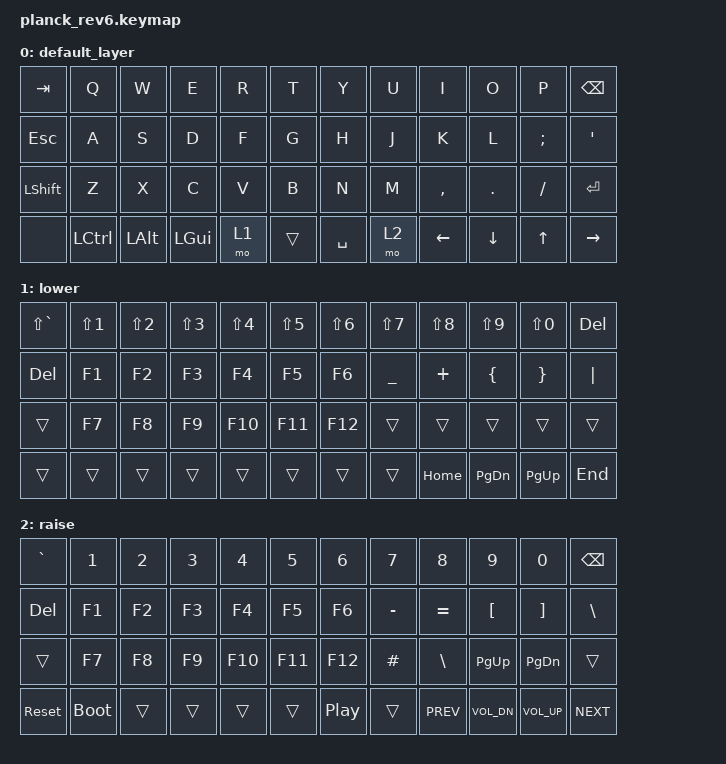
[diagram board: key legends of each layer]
/*
 * Copyright (c) 2020 The ZMK Contributors
 *
 * SPDX-License-Identifier: MIT
 */

#include <behaviors.dtsi>
#include <dt-bindings/zmk/keys.h>

/ {
	keymap {
		compatible = "zmk,keymap";

		default_layer {
			// ,-----------------------------------------------------------------------------------------------.
			// |  Tab  |   Q   |   W   |   E   |   R   |   T   |   Y   |   U   |   I   |   O   |   P   | Bksp  |
			// |-------+-------+-------+-------+-------+-------+-------+-------+-------+-------+-------+-------|
			// |  Esc  |   A   |   S   |   D   |   F   |   G   |   H   |   J   |   K   |   L   |   ;   |   '   |
			// |-------+-------+-------+-------+-------+-------+-------+-------+-------+-------+-------+-------|
			// | Shift |   Z   |   X   |   C   |   V   |   B   |   N   |   M   |   ,   |   .   |   /   | Enter |
			// |-------+-------+-------+-------+-------+-------+-------+-------+-------+-------+-------+-------|
			// |       | Ctrl  |  Alt  |  GUI  | Lower |     Space     | Raise | Left  | Down  |  Up   | Right |
			// `-----------------------------------------------------------------------------------------------'
			bindings = <
				&kp TAB  &kp Q    &kp W &kp E &kp R &kp T  &kp Y   &kp U  &kp I    &kp O   &kp P    &kp BSPC
				&kp ESC  &kp A    &kp S &kp D &kp F &kp G  &kp H   &kp J  &kp K    &kp L   &kp SEMI &kp SQT
				&kp LSHFT &kp Z    &kp X &kp C &kp V &kp B  &kp N   &kp M  &kp COMMA &kp DOT &kp SLASH &kp RET
				&none   &kp LCTL &kp LALT &kp LGUI &mo 1 &trans &kp SPACE &mo 2 &kp LEFT &kp DOWN &kp UP &kp RIGHT
			>;
		};

		lower {
			// ,-----------------------------------------------------------------------------------------------.
			// |   ~   |   !   |   @   |   #   |   $   |   %   |   ^   |   &   |   *   |   (   |   )   |  Del  |
			// |-------+-------+-------+-------+-------+-------+-------+-------+-------+-------+-------+-------|
			// |  Del  |  F1   |  F2   |  F3   |  F4   |  F5   |  F6   |   _   |   +   |   {   |   }   |   |   |
			// |-------+-------+-------+-------+-------+-------+-------+-------+-------+-------+-------+-------|
			// |       |  F7   |  F8   |  F9   |  F10  |  F11  |  F12  |       |       |       |       |       |
			// |-------+-------+-------+-------+-------+-------+-------+-------+-------+-------+-------+-------|
			// |       |       |       |       |       |               |       | Home  | PgDn  | PgUp  |  End  |
			// `-----------------------------------------------------------------------------------------------'
			bindings = <
				&kp LS(GRAVE) &kp LS(N1) &kp LS(N2) &kp LS(N3) &kp LS(N4) &kp LS(N5) &kp LS(N6) &kp LS(N7) &kp LS(N8) &kp LS(N9) &kp LS(N0) &kp DEL
				&kp DEL &kp F1 &kp F2 &kp F3 &kp F4 &kp F5 &kp F6 &kp UNDER &kp PLUS &kp LBRC &kp RBRC &kp PIPE
				&trans &kp F7 &kp F8 &kp F9 &kp F10 &kp F11 &kp F12 &trans &trans &trans &trans &trans
				&trans &trans &trans &trans &trans &trans &trans &trans &kp HOME &kp PG_DN &kp PG_UP &kp END
			>;
		};

		raise {
			// ,-----------------------------------------------------------------------------------------------.
			// |   `   |   1   |   2   |   3   |   4   |   5   |   6   |   7   |   8   |   9   |   0   |       |
			// |-------+-------+-------+-------+-------+-------+-------+-------+-------+-------+-------+-------|
			// |  Del  |  F1   |  F2   |  F3   |  F4   |  F5   |  F6   |   -   |   =   |   [   |   ]   |   \   |
			// |-------+-------+-------+-------+-------+-------+-------+-------+-------+-------+-------+-------|
			// |       |  F7   |  F8   |  F9   |  F10  |  F11  |  F12  |       |       |       |       |       |
			// |-------+-------+-------+-------+-------+-------+-------+-------+-------+-------+-------+-------|
			// | Reset | BTLDR |       |       |       |  Play / Pause |       | Home  | PgDn  | PgUp  |  End  |
			// `-----------------------------------------------------------------------------------------------'
			bindings = <
				&kp GRAVE &kp N1 &kp N2 &kp N3 &kp N4 &kp N5 &kp N6 &kp N7 &kp N8 &kp N9 &kp N0 &kp BSPC
				&kp DEL &kp F1 &kp F2 &kp F3 &kp F4 &kp F5 &kp F6 &kp MINUS &kp EQUAL &kp LBKT &kp RBKT &kp BSLH
				&trans &kp F7 &kp F8 &kp F9 &kp F10 &kp F11 &kp F12 &kp HASH &kp BSLH &kp PG_UP &kp PG_DN &trans
				&sys_reset &bootloader &trans &trans &trans &trans &kp C_PP &trans &kp C_PREV &kp C_VOL_DN &kp C_VOL_UP &kp C_NEXT
			>;
		};
	};
};
